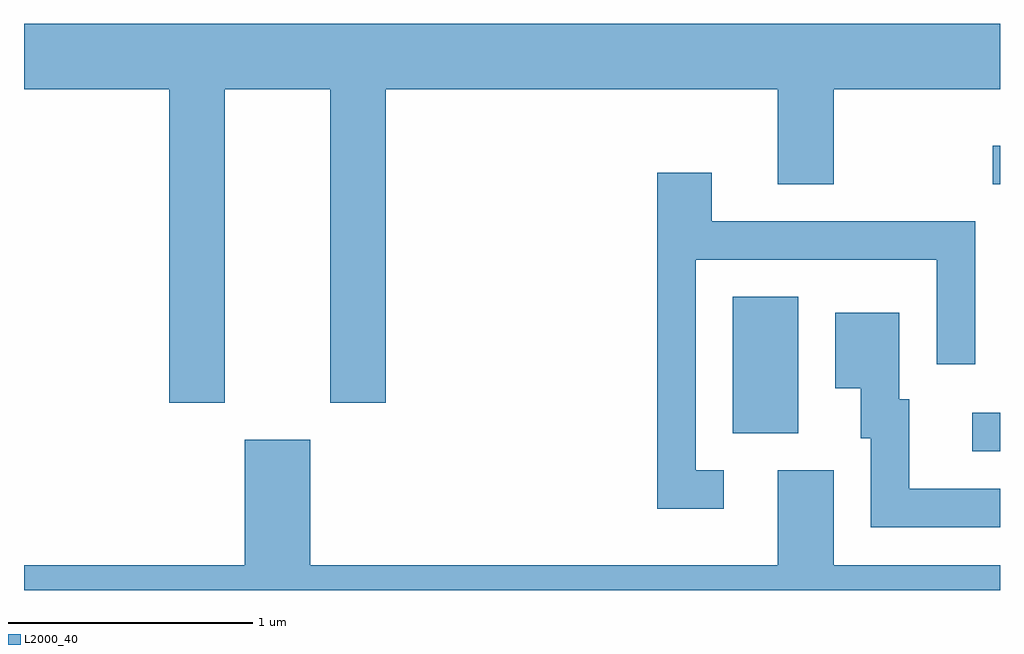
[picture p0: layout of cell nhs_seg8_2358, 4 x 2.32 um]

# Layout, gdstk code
import gdstk
lib = gdstk.Library(unit=1e-6, precision=1e-09)
def R(c, l, rs):  # rectangles x0, y0, x1, y1
    for r in rs: c.add(gdstk.rectangle(r[:2], r[2:], *l))
def P(c, l, *ps):  # polygons
    for p in ps: c.add(gdstk.Polygon(p, *l))
L2000_40 = (2000, 40)

nhs_seg8_2358 = lib.new_cell('nhs_seg8_2358')
R(nhs_seg8_2358, L2000_40, [(259.498,1854.911,259.611,1855.069), (258.516,1854.986,258.784,1855.544), (259.582,1856.006,259.611,1856.164)])
P(nhs_seg8_2358, L2000_40, [(255.611,1856.396),(256.206,1856.396),(256.206,1855.111),(256.434,1855.111),(256.434,1856.396),(256.866,1856.396),(256.866,1855.111),(257.094,1855.111),(257.094,1856.396),(258.701,1856.396),(258.701,1856.006),(258.929,1856.006),(258.929,1856.396),(259.611,1856.396),(259.611,1856.664),(255.611,1856.664)],
  [(258.478,1854.834),(258.364,1854.834),(258.364,1855.696),(259.351,1855.696),(259.351,1855.268),(259.509,1855.268),(259.509,1855.854),(258.429,1855.854),(258.429,1856.054),(258.206,1856.054),(258.206,1854.676),(258.478,1854.676)],
  [(259.611,1854.759),(259.239,1854.759),(259.239,1855.124),(259.199,1855.124),(259.199,1855.479),(258.936,1855.479),(258.936,1855.171),(259.041,1855.171),(259.041,1854.966),(259.081,1854.966),(259.081,1854.601),(259.611,1854.601)],
  [(259.611,1854.444),(258.929,1854.444),(258.929,1854.834),(258.701,1854.834),(258.701,1854.444),(256.784,1854.444),(256.784,1854.959),(256.516,1854.959),(256.516,1854.444),(255.611,1854.444),(255.611,1854.342),(259.611,1854.342)])

lib.write_gds('nhs_seg8_2358.gds')
